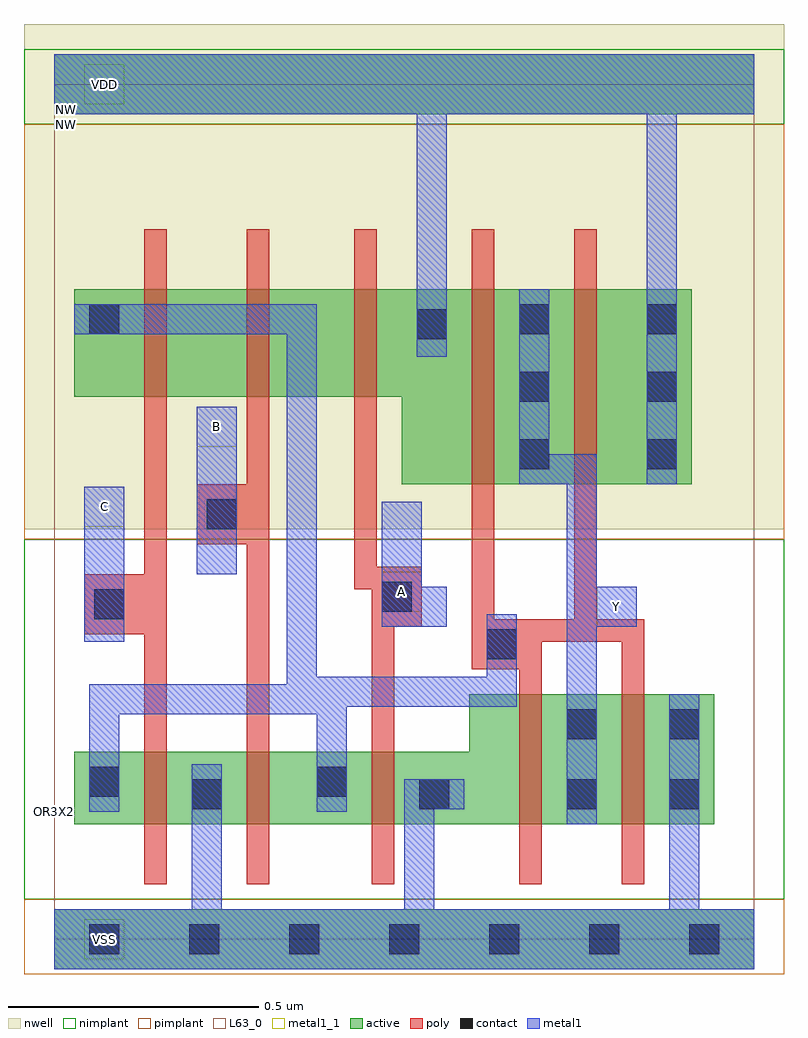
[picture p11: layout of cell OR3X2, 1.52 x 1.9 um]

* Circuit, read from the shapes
.subckt OR3X2 A B C NW VDD VSS Y
M1 VSS C n1 VSS nfet w=0.145u l=0.045u
M2 n1 B VSS VSS nfet w=0.145u l=0.045u
M3 VSS A n1 VSS nfet w=0.145u l=0.045u
M4 Y n1 VSS VSS nfet w=0.26u l=0.045u m=2
M5 n2 C n1 NW pfet w=0.215u l=0.045u
M6 n3 B n2 NW pfet w=0.215u l=0.045u
M7 VDD A n3 NW pfet w=0.215u l=0.045u
M8 Y n1 VDD NW pfet w=0.39u l=0.045u m=2
.ends

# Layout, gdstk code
import gdstk
lib = gdstk.Library(unit=1e-6, precision=5e-10)
def R(c, l, rs):  # rectangles x0, y0, x1, y1
    for r in rs: c.add(gdstk.rectangle(r[:2], r[2:], *l))
def A(c, l, x, y, w, h, nx, ny, dx, dy):  # array of equal rectangles
    R(c, l, [(x+i*dx, y+j*dy, x+i*dx+w, y+j*dy+h) for i in range(nx) for j in range(ny)])
def P(c, l, *ps):  # polygons
    for p in ps: c.add(gdstk.Polygon(p, *l))
active = (1, 0)
nwell = (2, 0)
poly = (3, 0)
nimplant = (4, 0)
pimplant = (5, 0)
contact = (6, 0)
metal1 = (7, 0)
metal1_1 = (7, 1)
L63_0 = (63, 0)

or3x2 = lib.new_cell('OR3X2')
R(or3x2, active, [(0,-0.06,1.4,0.06), (0,1.65,1.4,1.77)])
P(or3x2, active, [(0.04,1.3),(1.275,1.3),(1.275,0.91),(0.695,0.91),(0.695,1.085),(0.04,1.085)],
  [(0.83,0.49),(1.32,0.49),(1.32,0.23),(0.04,0.23),(0.04,0.375),(0.83,0.375)])
R(or3x2, nwell, [(-0.06,0.82,1.46,1.83), (0,1.61,0.05,1.71)])
P(or3x2, poly, [(0.835,1.42),(0.88,1.42),(0.88,0.64),(1.04,0.64),(1.04,1.42),(1.085,1.42),(1.085,0.64),(1.18,0.64),(1.18,0.11),(1.135,0.11),(1.135,0.595),(0.975,0.595),(0.975,0.11),(0.93,0.11),(0.93,0.54),(0.835,0.54)],
  [(0.18,1.42),(0.225,1.42),(0.225,0.11),(0.18,0.11),(0.18,0.61),(0.06,0.61),(0.06,0.73),(0.18,0.73)],
  [(0.385,1.42),(0.43,1.42),(0.43,0.11),(0.385,0.11),(0.385,0.79),(0.285,0.79),(0.285,0.91),(0.385,0.91)],
  [(0.6,1.42),(0.645,1.42),(0.645,0.745),(0.735,0.745),(0.735,0.625),(0.68,0.625),(0.68,0.11),(0.635,0.11),(0.635,0.7),(0.6,0.7)])
R(or3x2, nimplant, [(-0.06,0.08,1.46,0.8), (-0.06,1.63,1.46,1.78)])
R(or3x2, pimplant, [(-0.06,-0.07,1.46,0.08), (-0.06,0.8,1.46,1.63)])
A(or3x2, contact, 0.07, -0.03, 0.06, 0.06, 7, 1, 0.2, 0)
A(or3x2, contact, 0.93, 0.94, 0.06, 0.06, 1, 3, 0, 0.135)
A(or3x2, contact, 1.185, 0.94, 0.06, 0.06, 1, 3, 0, 0.135)
R(or3x2, contact, [(0.275,0.26,0.335,0.32), (0.73,0.26,0.79,0.32), (1.025,0.26,1.085,0.32), (1.23,0.26,1.29,0.32), (0.07,0.285,0.13,0.345), (0.525,0.285,0.585,0.345), (1.025,0.4,1.085,0.46), (1.23,0.4,1.29,0.46), (0.865,0.56,0.925,0.62), (0.08,0.64,0.14,0.7), (0.655,0.655,0.715,0.715), (0.305,0.82,0.365,0.88), (0.725,1.2,0.785,1.26), (0.07,1.21,0.13,1.27)])
R(or3x2, metal1, [(0.275,0.06,0.335,0.35), (1.23,0.06,1.29,0.49), (0.06,0.595,0.14,0.905), (0.285,0.73,0.365,1.065), (1.185,0.91,1.245,1.65), (0.725,1.165,0.785,1.65)])
P(or3x2, metal1, [(0.82,0.32),(0.7,0.32),(0.7,0.06),(0.76,0.06),(0.76,0.26),(0.82,0.26)],
  [(0.04,1.27),(0.525,1.27),(0.525,0.525),(0.865,0.525),(0.865,0.65),(0.925,0.65),(0.925,0.465),(0.585,0.465),(0.585,0.255),(0.525,0.255),(0.525,0.45),(0.13,0.45),(0.13,0.255),(0.07,0.255),(0.07,0.51),(0.465,0.51),(0.465,1.21),(0.04,1.21)],
  [(0.93,1.3),(0.99,1.3),(0.99,0.97),(1.085,0.97),(1.085,0.705),(1.165,0.705),(1.165,0.625),(1.085,0.625),(1.085,0.23),(1.025,0.23),(1.025,0.91),(0.93,0.91)],
  [(0.655,0.875),(0.735,0.875),(0.735,0.705),(0.785,0.705),(0.785,0.625),(0.655,0.625)])
R(or3x2, metal1_1, [(0.06,-0.04,0.14,0.04), (1.085,0.625,1.165,0.705), (0.655,0.655,0.735,0.735), (0.06,0.825,0.14,0.905), (0.285,0.985,0.365,1.065), (0.06,1.67,0.14,1.75)])
R(or3x2, L63_0, [(0,0,1.4,1.71)])
or3x2.add(gdstk.FlexPath([(0,0),(1.4,0)], 0.12, ends="flush", simple_path=True, layer=7, datatype=0))  # metal1
or3x2.add(gdstk.FlexPath([(0,1.71),(1.4,1.71)], 0.12, ends="flush", simple_path=True, layer=7, datatype=0))  # metal1
or3x2.add(gdstk.Label('VSS', (0.1,0), layer=7, texttype=1))
or3x2.add(gdstk.Label('Y', (1.125,0.665), layer=7, texttype=1))
or3x2.add(gdstk.Label('A', (0.695,0.695), layer=7, texttype=1))
or3x2.add(gdstk.Label('B', (0.325,1.025), layer=7, texttype=1))
or3x2.add(gdstk.Label('C', (0.1,0.865), layer=7, texttype=1))
or3x2.add(gdstk.Label('VDD', (0.1,1.71), layer=7, texttype=1))
or3x2.add(gdstk.Label('VSS', (0.1,0), layer=7, texttype=1))
or3x2.add(gdstk.Label('VDD', (0.1,1.71), layer=7, texttype=1))
or3x2.add(gdstk.Label('C', (0.1,0.865), layer=7, texttype=1))
or3x2.add(gdstk.Label('B', (0.325,1.025), layer=7, texttype=1))
or3x2.add(gdstk.Label('A', (0.695,0.695), layer=7, texttype=1))
or3x2.add(gdstk.Label('Y', (1.125,0.665), layer=7, texttype=1))
or3x2.add(gdstk.Label('OR3X2', (0,0.255), layer=63, texttype=0))
or3x2.add(gdstk.Label('NW', (0.025,1.66), layer=2, texttype=0))
or3x2.add(gdstk.Label('NW', (0.025,1.63), layer=2, texttype=0))

lib.write_gds('OR3X2.gds')
